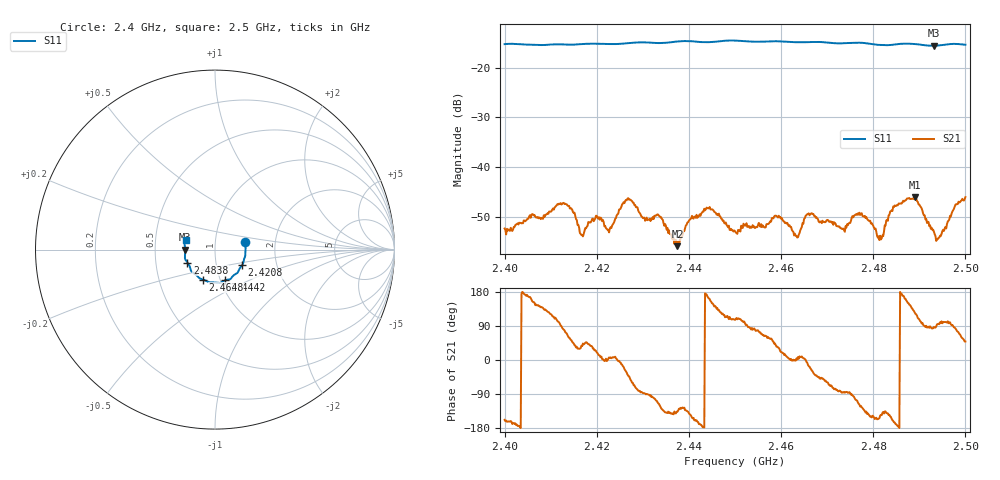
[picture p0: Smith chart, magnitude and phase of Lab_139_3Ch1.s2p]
# Hz S RI R 50
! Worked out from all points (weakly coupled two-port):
!   601 points, 2.4 GHz to 2.5 GHz, reference 50 ohm
!   highest |S21| = -46.04 dB at 2.489 GHz (marker M1); lowest = -55.9 dB at 2.4375 GHz (marker M2)
!   lowest |S11| = -15.6 dB at 2.4932 GHz (marker M3), VSWR 1.40, Z = 35.8 - j0.0821 ohm
!   |S11| at or under -10 dB: start of sweep to end of sweep
!   S12 and S22 are empty: the file has one direction only
!   S11 on the Smith chart (normalised r, x): 2.4 GHz: 1.40, +0.12; 2.4208 GHz: 1.33, -0.24; 2.4442 GHz: 1.05, -0.37; 2.4648 GHz: 0.83, -0.29; 2.4838 GHz: 0.73, -0.11; 2.5 GHz: 0.72, +0.08
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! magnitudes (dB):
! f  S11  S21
! 2.4 GHz  -15.3  -52.4
! 2.4127 GHz  -15.3  -47.2
! 2.4167 GHz  -15.2  -53.7
! 2.4208 GHz  -15.2  -50.2
! 2.4228 GHz  -15.2  -52.4
! 2.4268 GHz  -15.1  -46.3
! 2.4333 GHz  -15.0  -49.6
! 2.4375 GHz  -14.7  -55.9
! 2.4442 GHz  -14.9  -48.3
! 2.45 GHz  -14.5  -52.9
! 2.459 GHz  -14.7  -49.8
! 2.4633 GHz  -14.9  -53.9
! 2.4648 GHz  -14.9  -51.4
! 2.4667 GHz  -14.8  -49.3
! 2.4733 GHz  -15.1  -52.4
! 2.4772 GHz  -15.0  -49.6
! 2.4813 GHz  -15.4  -54.7
! 2.4833 GHz  -15.5  -49.7
! 2.4838 GHz  -15.4  -48.9
! 2.489 GHz  -15.2  -46.0
! 2.4932 GHz  -15.6  -53.0
! 2.5 GHz  -15.4  -46.1
